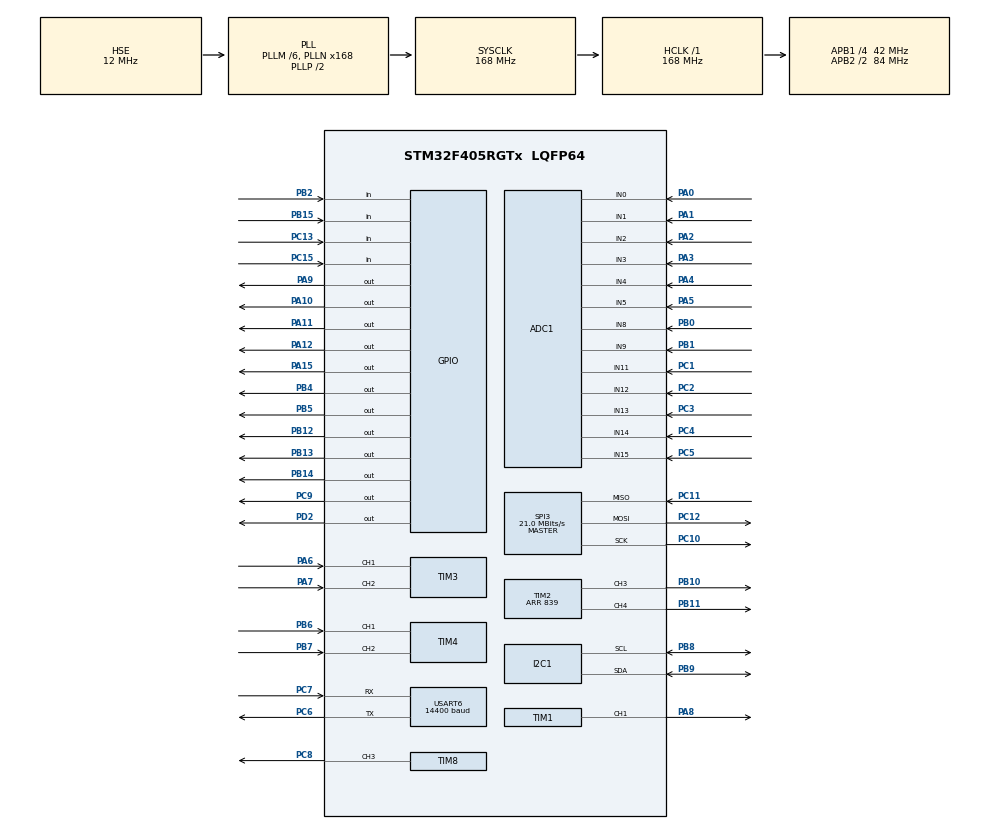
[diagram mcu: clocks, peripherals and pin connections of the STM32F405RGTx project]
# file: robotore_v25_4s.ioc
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ADC1.Channel-0\#ChannelRegularConversion=ADC_CHANNEL_9
ADC1.Channel-1\#ChannelRegularConversion=ADC_CHANNEL_8
ADC1.Channel-10\#ChannelRegularConversion=ADC_CHANNEL_13
ADC1.Channel-11\#ChannelRegularConversion=ADC_CHANNEL_12
ADC1.Channel-12\#ChannelRegularConversion=ADC_CHANNEL_11
ADC1.Channel-2\#ChannelRegularConversion=ADC_CHANNEL_15
ADC1.Channel-3\#ChannelRegularConversion=ADC_CHANNEL_14
ADC1.Channel-4\#ChannelRegularConversion=ADC_CHANNEL_5
ADC1.Channel-5\#ChannelRegularConversion=ADC_CHANNEL_4
ADC1.Channel-6\#ChannelRegularConversion=ADC_CHANNEL_3
ADC1.Channel-7\#ChannelRegularConversion=ADC_CHANNEL_2
ADC1.Channel-8\#ChannelRegularConversion=ADC_CHANNEL_1
ADC1.Channel-9\#ChannelRegularConversion=ADC_CHANNEL_0
ADC1.ContinuousConvMode=ENABLE
ADC1.DMAContinuousRequests=ENABLE
ADC1.InjNumberOfConversion=0
ADC1.NbrOfConversion=13
ADC1.NbrOfConversionFlag=1
ADC1.Rank-0\#ChannelRegularConversion=1
ADC1.Rank-1\#ChannelRegularConversion=2
ADC1.Rank-10\#ChannelRegularConversion=11
ADC1.Rank-11\#ChannelRegularConversion=12
ADC1.Rank-12\#ChannelRegularConversion=13
ADC1.Rank-2\#ChannelRegularConversion=3
ADC1.Rank-3\#ChannelRegularConversion=4
ADC1.Rank-4\#ChannelRegularConversion=5
ADC1.Rank-5\#ChannelRegularConversion=6
ADC1.Rank-6\#ChannelRegularConversion=7
ADC1.Rank-7\#ChannelRegularConversion=8
ADC1.Rank-8\#ChannelRegularConversion=9
ADC1.Rank-9\#ChannelRegularConversion=10
ADC1.SamplingTime-0\#ChannelRegularConversion=ADC_SAMPLETIME_480CYCLES
ADC1.SamplingTime-1\#ChannelRegularConversion=ADC_SAMPLETIME_480CYCLES
ADC1.SamplingTime-10\#ChannelRegularConversion=ADC_SAMPLETIME_480CYCLES
ADC1.SamplingTime-11\#ChannelRegularConversion=ADC_SAMPLETIME_480CYCLES
ADC1.SamplingTime-12\#ChannelRegularConversion=ADC_SAMPLETIME_480CYCLES
ADC1.SamplingTime-2\#ChannelRegularConversion=ADC_SAMPLETIME_480CYCLES
ADC1.SamplingTime-3\#ChannelRegularConversion=ADC_SAMPLETIME_480CYCLES
ADC1.SamplingTime-4\#ChannelRegularConversion=ADC_SAMPLETIME_480CYCLES
ADC1.SamplingTime-5\#ChannelRegularConversion=ADC_SAMPLETIME_480CYCLES
ADC1.SamplingTime-6\#ChannelRegularConversion=ADC_SAMPLETIME_480CYCLES
ADC1.SamplingTime-7\#ChannelRegularConversion=ADC_SAMPLETIME_480CYCLES
ADC1.SamplingTime-8\#ChannelRegularConversion=ADC_SAMPLETIME_480CYCLES
ADC1.SamplingTime-9\#ChannelRegularConversion=ADC_SAMPLETIME_480CYCLES
ADC1.ScanConvMode=ENABLE
ADC1.master=1
Dma.ADC1.0.Direction=DMA_PERIPH_TO_MEMORY
Dma.ADC1.0.FIFOMode=DMA_FIFOMODE_DISABLE
Dma.ADC1.0.Instance=DMA2_Stream0
Dma.ADC1.0.MemDataAlignment=DMA_MDATAALIGN_HALFWORD
Dma.ADC1.0.MemInc=DMA_MINC_ENABLE
Dma.ADC1.0.Mode=DMA_CIRCULAR
Dma.ADC1.0.PeriphDataAlignment=DMA_PDATAALIGN_HALFWORD
Dma.ADC1.0.PeriphInc=DMA_PINC_DISABLE
Dma.ADC1.0.Priority=DMA_PRIORITY_LOW
Dma.Request0=ADC1
Mcu.Family=STM32F4
Mcu.Name=STM32F405RGTx
Mcu.Package=LQFP64
NVIC.DMA2_Stream0_IRQn=true\:0\:0\:false\:false\:true\:false\:true
NVIC.PriorityGroup=NVIC_PRIORITYGROUP_4
NVIC.TIM6_DAC_IRQn=true\:0\:0\:true\:false\:true\:true\:true
NVIC.USART6_IRQn=true\:0\:0\:false\:false\:true\:true\:true
PA0-WKUP.Signal=ADCx_IN0
PA1.Signal=ADCx_IN1
PA10.Signal=GPIO_Output
PA11.Signal=GPIO_Output
PA12.Signal=GPIO_Output
PA13.Mode=Trace_Asynchronous_SW
PA13.Signal=SYS_JTMS-SWDIO
PA14.Mode=Trace_Asynchronous_SW
PA14.Signal=SYS_JTCK-SWCLK
PA15.Signal=GPIO_Output
PA2.Signal=ADCx_IN2
PA3.Signal=ADCx_IN3
PA4.Signal=ADCx_IN4
PA5.Signal=ADCx_IN5
PA6.Signal=S_TIM3_CH1
PA7.Signal=S_TIM3_CH2
PA8.Signal=S_TIM1_CH1
PA9.Signal=GPIO_Output
PB0.Signal=ADCx_IN8
PB1.Signal=ADCx_IN9
PB10.Signal=S_TIM2_CH3
PB11.Signal=S_TIM2_CH4
PB12.Signal=GPIO_Output
PB13.Signal=GPIO_Output
PB14.Signal=GPIO_Output
PB15.Signal=GPIO_Input
PB2.Signal=GPIO_Input
PB3.Mode=Trace_Asynchronous_SW
PB3.Signal=SYS_JTDO-SWO
PB4.Signal=GPIO_Output
PB5.Signal=GPIO_Output
PB6.Signal=S_TIM4_CH1
PB7.Signal=S_TIM4_CH2
PB8.Mode=I2C
PB8.Signal=I2C1_SCL
PB9.Mode=I2C
PB9.Signal=I2C1_SDA
PC1.Signal=ADCx_IN11
PC10.Mode=Full_Duplex_Master
PC10.Signal=SPI3_SCK
PC11.Mode=Full_Duplex_Master
PC11.Signal=SPI3_MISO
PC12.Mode=Full_Duplex_Master
PC12.Signal=SPI3_MOSI
PC13-ANTI_TAMP.GPIO_PuPd=GPIO_PULLUP
PC13-ANTI_TAMP.Signal=GPIO_Input
PC15-OSC32_OUT.GPIO_PuPd=GPIO_PULLUP
PC15-OSC32_OUT.Signal=GPIO_Input
PC2.Signal=ADCx_IN12
PC3.Signal=ADCx_IN13
PC4.Signal=ADCx_IN14
PC5.Signal=ADCx_IN15
PC6.Mode=Asynchronous
PC6.Signal=USART6_TX
PC7.Mode=Asynchronous
PC7.Signal=USART6_RX
PC8.Signal=S_TIM8_CH3
PC9.Signal=GPIO_Output
PD2.Signal=GPIO_Output
PH0-OSC_IN.Mode=HSE-External-Oscillator
PH0-OSC_IN.Signal=RCC_OSC_IN
PH1-OSC_OUT.Mode=HSE-External-Oscillator
PH1-OSC_OUT.Signal=RCC_OSC_OUT
ProjectManager.HeapSize=0x200
ProjectManager.StackSize=0x400
ProjectManager.TargetToolchain=STM32CubeIDE
RCC.48MHZClocksFreq_Value=84000000
RCC.AHBFreq_Value=168000000
RCC.APB1CLKDivider=RCC_HCLK_DIV4
RCC.APB1Freq_Value=42000000
RCC.APB1TimFreq_Value=84000000
RCC.APB2CLKDivider=RCC_HCLK_DIV2
RCC.APB2Freq_Value=84000000
RCC.APB2TimFreq_Value=168000000
RCC.CortexFreq_Value=168000000
RCC.HCLKFreq_Value=168000000
RCC.HSE_VALUE=12000000
RCC.HSI_VALUE=16000000
RCC.LSE_VALUE=32768
RCC.PLLM=6
RCC.PLLN=168
RCC.PLLSourceVirtual=RCC_PLLSOURCE_HSE
RCC.SYSCLKFreq_VALUE=168000000
RCC.SYSCLKSource=RCC_SYSCLKSOURCE_PLLCLK
RCC.VCOOutputFreq_Value=336000000
SH.ADCx_IN0.0=ADC1_IN0,IN0
SH.ADCx_IN1.0=ADC1_IN1,IN1
SH.ADCx_IN11.0=ADC1_IN11,IN11
SH.ADCx_IN12.0=ADC1_IN12,IN12
SH.ADCx_IN13.0=ADC1_IN13,IN13
SH.ADCx_IN14.0=ADC1_IN14,IN14
SH.ADCx_IN15.0=ADC1_IN15,IN15
SH.ADCx_IN2.0=ADC1_IN2,IN2
SH.ADCx_IN3.0=ADC1_IN3,IN3
SH.ADCx_IN4.0=ADC1_IN4,IN4
SH.ADCx_IN5.0=ADC1_IN5,IN5
SH.ADCx_IN8.0=ADC1_IN8,IN8
SH.ADCx_IN9.0=ADC1_IN9,IN9
SH.S_TIM1_CH1.0=TIM1_CH1,PWM Generation1 CH1
SH.S_TIM2_CH3.0=TIM2_CH3,PWM Generation3 CH3
SH.S_TIM2_CH4.0=TIM2_CH4,PWM Generation4 CH4
SH.S_TIM3_CH1.0=TIM3_CH1,Encoder_Interface
SH.S_TIM3_CH2.0=TIM3_CH2,Encoder_Interface
SH.S_TIM4_CH1.0=TIM4_CH1,Encoder_Interface
SH.S_TIM4_CH2.0=TIM4_CH2,Encoder_Interface
SH.S_TIM8_CH3.0=TIM8_CH3,PWM Generation3 CH3
SPI3.BaudRatePrescaler=SPI_BAUDRATEPRESCALER_2
SPI3.CLKPhase=SPI_PHASE_2EDGE
SPI3.CLKPolarity=SPI_POLARITY_HIGH
SPI3.CalculateBaudRate=21.0 MBits/s
SPI3.DataSize=SPI_DATASIZE_8BIT
SPI3.Direction=SPI_DIRECTION_2LINES
SPI3.Mode=SPI_MODE_MASTER
SPI3.VirtualType=VM_MASTER
TIM1.Channel-PWM\ Generation1\ CH1=TIM_CHANNEL_1
TIM1.Period=2000
TIM2.Channel-PWM\ Generation3\ CH3=TIM_CHANNEL_3
TIM2.Channel-PWM\ Generation4\ CH4=TIM_CHANNEL_4
TIM2.Period=839
TIM6.Period=999
TIM6.Prescaler=83
TIM8.Channel-PWM\ Generation3\ CH3=TIM_CHANNEL_3
TIM8.Period=2000
TIM8.Prescaler=0
USART6.BaudRate=14400
USART6.VirtualMode=VM_ASYNC
USART6.WordLength=WORDLENGTH_8B
VP_TIM6_VS_ClockSourceINT.Mode=Enable_Timer
board=custom

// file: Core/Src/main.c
/* USER CODE BEGIN Header */
/**
  ******************************************************************************
  * @file           : main.c
  * @brief          : Main program body
  ******************************************************************************
  * @attention
  *
  * <h2><center>&copy; Copyright (c) 2022 STMicroelectronics.
  * All rights reserved.</center></h2>
  *
  * This software component is licensed by ST under BSD 3-Clause license,
  * the "License"; You may not use this file except in compliance with the
  * License. You may obtain a copy of the License at:
  *                        opensource.org/licenses/BSD-3-Clause
  *
  ******************************************************************************
  */
/* USER CODE END Header */
#include "main.h"

/* USER CODE BEGIN Includes */
#include "initial.h"
#include"flash.h"
#include "main.h"
#include <AQM0802.h>
#include <infor.h>
#include "stdio.h"
#include <adjustment.h>
#include "stdbool.h"
#include "string.h"
#include"PID_con.h"
#include <IMU_cale.h>
#include <sensor_ADC.h>
#include <Driv_log.h>
#include <ICM_20648.h>
#include "math.h"
#include "Flash_F405.h"
/* USER CODE END Includes */

/* USER CODE BEGIN PTD */
float mon_speed;
uint16_t driv_flag=0;
int ghq=0;
uint16_t a=0,b=0;
float speedget ;
uint8_t goal=1;
float test=0;
uint8_t imu_test=0;
/* USER CODE END PTD */

ADC_HandleTypeDef hadc1;
DMA_HandleTypeDef hdma_adc1;

I2C_HandleTypeDef hi2c1;

SPI_HandleTypeDef hspi3;

TIM_HandleTypeDef htim1;
TIM_HandleTypeDef htim2;
TIM_HandleTypeDef htim3;
TIM_HandleTypeDef htim4;
TIM_HandleTypeDef htim6;
TIM_HandleTypeDef htim8;

UART_HandleTypeDef huart6;

void SystemClock_Config(void);
static void MX_GPIO_Init(void);
static void MX_DMA_Init(void);
static void MX_ADC1_Init(void);
static void MX_I2C1_Init(void);
static void MX_SPI3_Init(void);
static void MX_TIM1_Init(void);
static void MX_TIM3_Init(void);
static void MX_TIM4_Init(void);
static void MX_TIM8_Init(void);
static void MX_USART6_UART_Init(void);
static void MX_TIM6_Init(void);
static void MX_TIM2_Init(void);
/* USER CODE BEGIN PFP */
#ifdef __GNUC__
	#define PUTCHAR_PROTOTYPE int __io_putchar(int ch)
#else
	#define PUTCHAR_PROTOTYPE int fputc(int ch, FILE *f)
#endif /*__GNUC__*/
PUTCHAR_PROTOTYPE {
	HAL_UART_Transmit(&huart6, (uint8_t*)&ch, 1, 0xFFFF);
	return ch;
}
void HAL_ADC_ConvCpltCallback(ADC_HandleTypeDef* AdcHandle) {
}
/* USER CODE END PFP */

/* USER CODE BEGIN 0 */
//int _write(int file, char *ptr, int len)
//{
//  int DataIdx;
//  for(DataIdx=0; DataIdx<len; DataIdx++)
//  {
//    ITM_SendChar(*ptr++);
//  }
//  return len;
//}
void HAL_TIM_PeriodElapsedCallback(TIM_HandleTypeDef *htim){
	ghq++;
	Speed_Motor();
	sidemaker();
	  if(maker_flag==0 && second_soeed>=1 && (Average_speed<=6000)){
		  Average_speed=Average_speed+5;
		  //spp=Average_speed;
	  }
	//if(driv_flag==1&& maker_flag==1)first_cale();
//	if(straight_flag) HAL_GPIO_WritePin(GPIOC, GPIO_PIN_8, GPIO_PIN_SET);
//	else if(driv_flag ==1) HAL_GPIO_WritePin(GPIOC, GPIO_PIN_8, GPIO_PIN_RESET);

  if(maker_flag==0 && Average_speed<=work_ram[26])Average_speed+=5;
  else if(driv_flag ==1 && maker_flag==1) Average_speed=work_ram[26];

}
void mode(){
	uint8_t i=1;
	uint16_t jl=39;
	int a=0;
	float cal=0;
	float spp=0;
	while(1){
		i=mode_Selection(switch_cheack());

		switch(i){
//		case 1:
//			LED(1);//blue
//			lcd_clear();
//			lcd_locate(0,0);
//			lcd_printf("IMU");
//			//HAL_Delay(500);
//			IMU_init();
//			off_angle();
//			break;
		case 1://green
			LED(1);
			lcd_clear();
			lcd_locate(0,0);
			lcd_printf("ADCinit");
			ADCinit();
			break;
		case 2:
			LED(2);//light blue
			lcd_clear();
			lcd_locate(0,0);
			lcd_printf("nomusan");
			tuning();
			break;

		case 3:

			second_soeed=0;
			Flash_clear2();
			LED(8);
			LED2(1);
			while(switch_cheack2());
			LED2(2);
			HAL_Delay(300);
			off_angle();
			HAL_Delay(100);
			fan_pressure(400,400);
			HAL_Delay(1000);
			log_init ();
			lcd_clear();
			Kd = 30;
			TIM4 -> CNT = 32768;
			TIM3 -> CNT = 32768;

			HAL_TIM_Base_Start_IT(&htim6);
			LED(2);
			maker_flag=0;
			driv_flag=1;
			Average_speed=0;
			while (1){

			  if(maker_right && cross_line==0 && maker_left == 0 ){
				  while(maker_right);
				  maker_flag++;
				  if(maker_flag>=2){
					  break;
				  }
			  }
			  if(maker_left && cross_line==0 && maker_right == 0){
				  correc_maker = true;
				  while(maker_left);
				  correc_maker = false;
			  }
			  if((maker_right )&& cross_line==1 ){
				  while(maker_right);
				  cross_maker = true;
			  }

			}

			stop();
			fan_pressure(0,0);
			Flash_store();
			Kd = work_ram[29];
			break;
		case 4:
			accel_tuning();
			break;

		case 5:
			i=1;
			HAL_Delay(500);
			second_soeed=mode_Selection(switch_cheack2());
			LED2(3);
			FLASH_EreaseSector(11);
			FLASH_Erease8();
			log_init ();
			log_Cal();
			log_init ();
			HAL_Delay(10);
			off_angle();
			HAL_Delay(100);
			maker_flag=0;
			driv_flag=2;

//			if(second_soeed == 1){
//				__HAL_TIM_SET_COMPARE(&htim2, TIM_CHANNEL_1, 2000);
//				__HAL_TIM_SET_COMPARE(&htim2, TIM_CHANNEL_4, 2060);
//				fan_pressure(13.4,13.4);
//			}else {
				fan_pressure(550,550);
//				__HAL_TIM_SET_COMPARE(&htim2, TIM_CHANNEL_1, 2020);
//				__HAL_TIM_SET_COMPARE(&htim2, TIM_CHANNEL_4, 2080);
//			}
			HAL_Delay(500);
			Average_speed=0;
			spp=700;
			LED(2);
			TIM4 -> CNT = 32768;
			TIM3 -> CNT = 32768;
			HAL_TIM_Base_Start_IT(&htim6);
			while (1){

			  if(maker_right && cross_line==0 && maker_left == 0 ){
				  while(maker_right);
				  maker_flag++;
				  if(maker_flag>=2){
					  break;
				  }
			  }
			  if(maker_left && cross_line==0 && maker_right==0){
					  correc_maker = true;
					  while(maker_left);
					  correc_maker = false;

				  }
			  if((maker_right )&& cross_line==1 ){
				  while(maker_right);
				  cross_maker = true;
			  }

			 // if(Average_speed<work_ram[26])Average_speed=work_ram[26];
			}

			stop();
			fan_pressure(0,0);
			lcd_clear();
			lcd_printf("%lf",test);
			break;
		case 6:
			log_play();
			break;
		case 7:
			speed_tuning();
			break;
		}

	}

}
/* USER CODE END 0 */

int main(void)
{
  /* USER CODE BEGIN 1 */
//	int i=0;
//	int z=0;
//	int g=0;
	int cal=0;
  /* USER CODE END 1 */

  /* MCU Configuration--------------------------------------------------------*/

  /* Reset of all peripherals, Initializes the Flash interface and the Systick. */
  HAL_Init();

  /* Configure the system clock */
  SystemClock_Config();

  /* Initialize all configured peripherals */
  MX_GPIO_Init();
  MX_DMA_Init();
  MX_ADC1_Init();
  MX_I2C1_Init();
  MX_SPI3_Init();
  MX_TIM1_Init();
  MX_TIM3_Init();
  MX_TIM4_Init();
  MX_TIM8_Init();
  MX_USART6_UART_Init();
  MX_TIM6_Init();
  MX_TIM2_Init();
  /* USER CODE BEGIN 2 */
//  HAL_Delay(100);

  init();
//  work_ram[26]=2500;
//  Flash_store();
 // ADCinit();

//  brushi_init();
  IMU_init();
  IMU_init();
 // off_angle();
//  IMU_init();
  HAL_Delay(100);

 // off_angle();
 // HAL_Delay(5000);
//	__HAL_TIM_SET_COMPARE(&htim2, TIM_CHANNEL_3, 50)
//	__HAL_TIM_SET_COMPARE(&htim2, TIM_CHANNEL_4, 50);
//  fan_pressure(10,0);f
 // __HAL_TIM_SET_COMPARE(&htim1, TIM_CHANNEL_2, 400);
 // Kd = 10;
if(switch_cheack2()==0){
	LED(4);
	LED2(4);
	HAL_Delay(1000);
	fan_pressure(550,550);
	while(1);
}
//  HAL_TIM_Base_Start_IT(&htim6);
 // tuning();
//  second_soeed = 2;
//  log_Cal();
Motor(00,00);
mode();
//HAL_GPIO_WritePin(GPIOA, GPIO_PIN_8, GPIO_PIN_SET);
//HAL_GPIO_WritePin(GPIOC, GPIO_PIN_9, GPIO_PIN_SET);
 // __HAL_TIM_SET_COMPARE(&htim8, TIM_CHANNEL_3, 400);
// Motor(00,000);
// Motor(300,300);
//  mode_Selection(1);
LED(5);
//LED2(4);
//  __HAL_TIM_SET_COMPARE(&htim8, TIM_CHANNEL_3, 2000);
	//IMU_init();
	//off_angle();
  //printf("hello\r\n");
  //log_init ();
//  log_play();
  //HAL_TIM_Base_Start_IT(&htim6);
  /* USER CODE END 2 */

  /* Infinite loop */
  /* USER CODE BEGIN WHILE */
//	lcd_clear();
//  work_ram[26]=1800;
//  work_ram[27]=200;
//  work_ram[28]=0;
//  work_ram[29]=20;
//  work_ram[31]=22;
//  work_ram[32]=8;
//    work_ram[33] = 2000;
//    work_ram[34] = 3000;
//    work_ram[35] = 3500;
//    work_ram[36] = 4500;
//    work_ram[37] = 4500;
//    work_ram[38] = 6600;
//  Flash_store();
 // driv_fan(3800);
//  maker_flag=1;
//  driv_flag=2;
//  HAL_TIM_Base_Start_IT(&htim6);
  TIM3-> CNT = 0;
//  fan_pressure(15,15);
//mode_Selection(1);
//  TIM3 -> CNT = 32768;
  cal=39;
  while (1)
  {
	  read_gyro_data();
	  sidemaker();
	//  printf("%d,%d\r\n",cal-39,work_ram[cal]);
	  cal++;
//	  if(work_ram[cal]>=6000)break;
//	  a++;
//	  if(a>=8)a=0;
//	  LED(a);
//  cal++;
//	  if(cal>=50000)break;
//	  fan_pressure(5,5);
//	  HAL_Delay(3000);
//	  fan_pressure(0,13);
//	  HAL_Delay(3000);
//	ghq = *(uint32_t*)plan_velo_adress;
//	cal = *(float*)plan_velo_adress;
//	if(isnan(cal) != 0)break;
//	//ghq = *(uint32_t*)side_adress;
////	cal = *(float*)side_adress;
////	if(isnan(cal) != 0)break;
//	//c++;
	//printf("hello");
	printf("%d\r\n",zg);
//	plan_velo_adress+= 0x04;
//
//	HAL_Delay(1000);

//	 a= analog[0];
	  test =  (a-32768 );
//	  printf("%d,",analog[0]);
//	  printf("%d,",analog[1]);
//	  printf("%d,",analog[2]);
//	  printf("%d,",analog[3]);
//	  printf("%d,",analog[4]);
//	  printf("%d,",analog[5]);
//	  printf("%d,",analog[6]);
//	  printf("%d,",analog[7]);
//	  printf("%d,",analog[8]);
//	  printf("%d,",analog[9]);
//	  printf("%d,",analog[10]);
//	  printf("%d,",analog[11]);
//	  printf("%d,\r\n",analog[12]);
//	  printf("%d\r\n",a);
//	  read_gyro_data();
	  a=TIM4 -> CNT;
	  b=TIM3 -> CNT;
//	  Motor(100,100);
//	  HAL_Delay(1000);
	 // Motor(0,-1800);
//	  printf("%lf\r\n",calc_angle());
//	  if(maker_right && cross_line==0){
//		  while(maker_right);
//		  i++;
//		  if(i>=2)stop();
//	  }
//
//	  if(log_flag){
//		  lcd_clear();
//		  z++;
//		  if(cross_line) g++;
//		  if(g>=15) {
//			  cross_line=0;
//			  g=0;
//		  }
//		  log_flag= false;
	//  }
	  //printf("%lf\r\n",speedget());
	  HAL_Delay(100);
    /* USER CODE END WHILE */

    /* USER CODE BEGIN 3 */
  }

 // printf("%lf\r\n",test);
//  Motor(00,00);
  return 0;
  /* USER CODE END 3 */
}

void SystemClock_Config(void)
{
  RCC_OscInitTypeDef RCC_OscInitStruct = {0};
  RCC_ClkInitTypeDef RCC_ClkInitStruct = {0};

  /** Configure the main internal regulator output voltage
  */
  __HAL_RCC_PWR_CLK_ENABLE();
  __HAL_PWR_VOLTAGESCALING_CONFIG(PWR_REGULATOR_VOLTAGE_SCALE1);
  /** Initializes the RCC Oscillators according to the specified parameters
  * in the RCC_OscInitTypeDef structure.
  */
  RCC_OscInitStruct.OscillatorType = RCC_OSCILLATORTYPE_HSE;
  RCC_OscInitStruct.HSEState = RCC_HSE_ON;
  RCC_OscInitStruct.PLL.PLLState = RCC_PLL_ON;
  RCC_OscInitStruct.PLL.PLLSource = RCC_PLLSOURCE_HSE;
  RCC_OscInitStruct.PLL.PLLM = 6;
  RCC_OscInitStruct.PLL.PLLN = 168;
  RCC_OscInitStruct.PLL.PLLP = RCC_PLLP_DIV2;
  RCC_OscInitStruct.PLL.PLLQ = 4;
  if (HAL_RCC_OscConfig(&RCC_OscInitStruct) != HAL_OK)
  {
    Error_Handler();
  }
  /** Initializes the CPU, AHB and APB buses clocks
  */
  RCC_ClkInitStruct.ClockType = RCC_CLOCKTYPE_HCLK|RCC_CLOCKTYPE_SYSCLK
                              |RCC_CLOCKTYPE_PCLK1|RCC_CLOCKTYPE_PCLK2;
  RCC_ClkInitStruct.SYSCLKSource = RCC_SYSCLKSOURCE_PLLCLK;
  RCC_ClkInitStruct.AHBCLKDivider = RCC_SYSCLK_DIV1;
  RCC_ClkInitStruct.APB1CLKDivider = RCC_HCLK_DIV4;
  RCC_ClkInitStruct.APB2CLKDivider = RCC_HCLK_DIV2;

  if (HAL_RCC_ClockConfig(&RCC_ClkInitStruct, FLASH_LATENCY_5) != HAL_OK)
  {
    Error_Handler();
  }
}

static void MX_ADC1_Init(void)
{

  ADC_ChannelConfTypeDef sConfig = {0};

  /** Configure the global features of the ADC (Clock, Resolution, Data Alignment and number of conversion)
  */
  hadc1.Instance = ADC1;
  hadc1.Init.ClockPrescaler = ADC_CLOCK_SYNC_PCLK_DIV4;
  hadc1.Init.Resolution = ADC_RESOLUTION_12B;
  hadc1.Init.ScanConvMode = ENABLE;
  hadc1.Init.ContinuousConvMode = ENABLE;
  hadc1.Init.DiscontinuousConvMode = DISABLE;
  hadc1.Init.ExternalTrigConvEdge = ADC_EXTERNALTRIGCONVEDGE_NONE;
  hadc1.Init.ExternalTrigConv = ADC_SOFTWARE_START;
  hadc1.Init.DataAlign = ADC_DATAALIGN_RIGHT;
  hadc1.Init.NbrOfConversion = 13;
  hadc1.Init.DMAContinuousRequests = ENABLE;
  hadc1.Init.EOCSelection = ADC_EOC_SINGLE_CONV;
  if (HAL_ADC_Init(&hadc1) != HAL_OK)
  {
    Error_Handler();
  }
  /** Configure for the selected ADC regular channel its corresponding rank in the sequencer and its sample time.
  */
  sConfig.Channel = ADC_CHANNEL_9;
  sConfig.Rank = 1;
  sConfig.SamplingTime = ADC_SAMPLETIME_480CYCLES;
  if (HAL_ADC_ConfigChannel(&hadc1, &sConfig) != HAL_OK)
  {
    Error_Handler();
  }
  /** Configure for the selected ADC regular channel its corresponding rank in the sequencer and its sample time.
  */
  sConfig.Channel = ADC_CHANNEL_8;
  sConfig.Rank = 2;
  if (HAL_ADC_ConfigChannel(&hadc1, &sConfig) != HAL_OK)
  {
    Error_Handler();
  }
  /** Configure for the selected ADC regular channel its corresponding rank in the sequencer and its sample time.
  */
  sConfig.Channel = ADC_CHANNEL_15;
  sConfig.Rank = 3;
  if (HAL_ADC_ConfigChannel(&hadc1, &sConfig) != HAL_OK)
  {
    Error_Handler();
  }
  /** Configure for the selected ADC regular channel its corresponding rank in the sequencer and its sample time.
  */
  sConfig.Channel = ADC_CHANNEL_14;
  sConfig.Rank = 4;
  if (HAL_ADC_ConfigChannel(&hadc1, &sConfig) != HAL_OK)
  {
    Error_Handler();
  }
  /** Configure for the selected ADC regular channel its corresponding rank in the sequencer and its sample time.
  */
  sConfig.Channel = ADC_CHANNEL_5;
  sConfig.Rank = 5;
  if (HAL_ADC_ConfigChannel(&hadc1, &sConfig) != HAL_OK)
  {
    Error_Handler();
  }
  /** Configure for the selected ADC regular channel its corresponding rank in the sequencer and its sample time.
  */
  sConfig.Channel = ADC_CHANNEL_4;
  sConfig.Rank = 6;
  if (HAL_ADC_ConfigChannel(&hadc1, &sConfig) != HAL_OK)
  {
    Error_Handler();
  }
  /** Configure for the selected ADC regular channel its corresponding rank in the sequencer and its sample time.
  */
  sConfig.Channel = ADC_CHANNEL_3;
  sConfig.Rank = 7;
  if (HAL_ADC_ConfigChannel(&hadc1, &sConfig) != HAL_OK)
  {
    Error_Handler();
  }
  /** Configure for the selected ADC regular channel its corresponding rank in the sequencer and its sample time.
  */
  sConfig.Channel = ADC_CHANNEL_2;
  sConfig.Rank = 8;
  if (HAL_ADC_ConfigChannel(&hadc1, &sConfig) != HAL_OK)
  {
    Error_Handler();
  }
  /** Configure for the selected ADC regular channel its corresponding rank in the sequencer and its sample time.
  */
  sConfig.Channel = ADC_CHANNEL_1;
  sConfig.Rank = 9;
  if (HAL_ADC_ConfigChannel(&hadc1, &sConfig) != HAL_OK)
  {
    Error_Handler();
  }
  /** Configure for the selected ADC regular channel its corresponding rank in the sequencer and its sample time.
  */
  sConfig.Channel = ADC_CHANNEL_0;
  sConfig.Rank = 10;
  if (HAL_ADC_ConfigChannel(&hadc1, &sConfig) != HAL_OK)
  {
    Error_Handler();
  }
  /** Configure for the selected ADC regular channel its corresponding rank in the sequencer and its sample time.
  */
  sConfig.Channel = ADC_CHANNEL_13;
  sConfig.Rank = 11;
  if (HAL_ADC_ConfigChannel(&hadc1, &sConfig) != HAL_OK)
  {
    Error_Handler();
  }
  /** Configure for the selected ADC regular channel its corresponding rank in the sequencer and its sample time.
  */
  sConfig.Channel = ADC_CHANNEL_12;
  sConfig.Rank = 12;
  if (HAL_ADC_ConfigChannel(&hadc1, &sConfig) != HAL_OK)
  {
    Error_Handler();
  }
  /** Configure for the selected ADC regular channel its corresponding rank in the sequencer and its sample time.
  */
  sConfig.Channel = ADC_CHANNEL_11;
  sConfig.Rank = 13;
  if (HAL_ADC_ConfigChannel(&hadc1, &sConfig) != HAL_OK)
  {
    Error_Handler();
  }

}

static void MX_I2C1_Init(void)
{

  hi2c1.Instance = I2C1;
  hi2c1.Init.ClockSpeed = 100000;
  hi2c1.Init.DutyCycle = I2C_DUTYCYCLE_2;
  hi2c1.Init.OwnAddress1 = 0;
  hi2c1.Init.AddressingMode = I2C_ADDRESSINGMODE_7BIT;
  hi2c1.Init.DualAddressMode = I2C_DUALADDRESS_DISABLE;
  hi2c1.Init.OwnAddress2 = 0;
  hi2c1.Init.GeneralCallMode = I2C_GENERALCALL_DISABLE;
  hi2c1.Init.NoStretchMode = I2C_NOSTRETCH_DISABLE;
  if (HAL_I2C_Init(&hi2c1) != HAL_OK)
  {
    Error_Handler();
  }

}

static void MX_SPI3_Init(void)
{

  /* SPI3 parameter configuration*/
  hspi3.Instance = SPI3;
  hspi3.Init.Mode = SPI_MODE_MASTER;
  hspi3.Init.Direction = SPI_DIRECTION_2LINES;
  hspi3.Init.DataSize = SPI_DATASIZE_8BIT;
  hspi3.Init.CLKPolarity = SPI_POLARITY_HIGH;
  hspi3.Init.CLKPhase = SPI_PHASE_2EDGE;
  hspi3.Init.NSS = SPI_NSS_SOFT;
  hspi3.Init.BaudRatePrescaler = SPI_BAUDRATEPRESCALER_2;
  hspi3.Init.FirstBit = SPI_FIRSTBIT_MSB;
  hspi3.Init.TIMode = SPI_TIMODE_DISABLE;
  hspi3.Init.CRCCalculation = SPI_CRCCALCULATION_DISABLE;
  hspi3.Init.CRCPolynomial = 10;
  if (HAL_SPI_Init(&hspi3) != HAL_OK)
  {
    Error_Handler();
  }

}

static void MX_TIM1_Init(void)
{

  TIM_MasterConfigTypeDef sMasterConfig = {0};
  TIM_OC_InitTypeDef sConfigOC = {0};
  TIM_BreakDeadTimeConfigTypeDef sBreakDeadTimeConfig = {0};

  htim1.Instance = TIM1;
  htim1.Init.Prescaler = 0;
  htim1.Init.CounterMode = TIM_COUNTERMODE_UP;
  htim1.Init.Period = 2000;
  htim1.Init.ClockDivision = TIM_CLOCKDIVISION_DIV1;
  htim1.Init.RepetitionCounter = 0;
  htim1.Init.AutoReloadPreload = TIM_AUTORELOAD_PRELOAD_DISABLE;
  if (HAL_TIM_PWM_Init(&htim1) != HAL_OK)
  {
    Error_Handler();
  }
  sMasterConfig.MasterOutputTrigger = TIM_TRGO_RESET;
  sMasterConfig.MasterSlaveMode = TIM_MASTERSLAVEMODE_DISABLE;
  if (HAL_TIMEx_MasterConfigSynchronization(&htim1, &sMasterConfig) != HAL_OK)
  {
    Error_Handler();
  }
  sConfigOC.OCMode = TIM_OCMODE_PWM1;
  sConfigOC.Pulse = 0;
  sConfigOC.OCPolarity = TIM_OCPOLARITY_HIGH;
  sConfigOC.OCNPolarity = TIM_OCNPOLARITY_HIGH;
  sConfigOC.OCFastMode = TIM_OCFAST_DISABLE;
  sConfigOC.OCIdleState = TIM_OCIDLESTATE_RESET;
  sConfigOC.OCNIdleState = TIM_OCNIDLESTATE_RESET;
  if (HAL_TIM_PWM_ConfigChannel(&htim1, &sConfigOC, TIM_CHANNEL_1) != HAL_OK)
  {
    Error_Handler();
  }
  sBreakDeadTimeConfig.OffStateRunMode = TIM_OSSR_DISABLE;
  sBreakDeadTimeConfig.OffStateIDLEMode = TIM_OSSI_DISABLE;
  sBreakDeadTimeConfig.LockLevel = TIM_LOCKLEVEL_OFF;
  sBreakDeadTimeConfig.DeadTime = 0;
  sBreakDeadTimeConfig.BreakState = TIM_BREAK_DISABLE;
  sBreakDeadTimeConfig.BreakPolarity = TIM_BREAKPOLARITY_HIGH;
  sBreakDeadTimeConfig.AutomaticOutput = TIM_AUTOMATICOUTPUT_DISABLE;
  if (HAL_TIMEx_ConfigBreakDeadTime(&htim1, &sBreakDeadTimeConfig) != HAL_OK)
  {
    Error_Handler();
  }
  HAL_TIM_MspPostInit(&htim1);

}

static void MX_TIM2_Init(void)
{

  TIM_MasterConfigTypeDef sMasterConfig = {0};
  TIM_OC_InitTypeDef sConfigOC = {0};

  htim2.Instance = TIM2;
  htim2.Init.Prescaler = 0;
  htim2.Init.CounterMode = TIM_COUNTERMODE_UP;
  htim2.Init.Period = 839;
  htim2.Init.ClockDivision = TIM_CLOCKDIVISION_DIV1;
  htim2.Init.AutoReloadPreload = TIM_AUTORELOAD_PRELOAD_DISABLE;
  if (HAL_TIM_PWM_Init(&htim2) != HAL_OK)
  {
    Error_Handler();
  }
  sMasterConfig.MasterOutputTrigger = TIM_TRGO_RESET;
  sMasterConfig.MasterSlaveMode = TIM_MASTERSLAVEMODE_DISABLE;
  if (HAL_TIMEx_MasterConfigSynchronization(&htim2, &sMasterConfig) != HAL_OK)
  {
    Error_Handler();
  }
  sConfigOC.OCMode = TIM_OCMODE_PWM1;
  sConfigOC.Pulse = 0;
  sConfigOC.OCPolarity = TIM_OCPOLARITY_HIGH;
  sConfigOC.OCFastMode = TIM_OCFAST_DISABLE;
  if (HAL_TIM_PWM_ConfigChannel(&htim2, &sConfigOC, TIM_CHANNEL_3) != HAL_OK)
  {
    Error_Handler();
  }
  if (HAL_TIM_PWM_ConfigChannel(&htim2, &sConfigOC, TIM_CHANNEL_4) != HAL_OK)
  {
    Error_Handler();
  }
  HAL_TIM_MspPostInit(&htim2);

}

static void MX_TIM3_Init(void)
{

  TIM_Encoder_InitTypeDef sConfig = {0};
  TIM_MasterConfigTypeDef sMasterConfig = {0};

  htim3.Instance = TIM3;
  htim3.Init.Prescaler = 0;
  htim3.Init.CounterMode = TIM_COUNTERMODE_UP;
  htim3.Init.Period = 65535;
  htim3.Init.ClockDivision = TIM_CLOCKDIVISION_DIV1;
  htim3.Init.AutoReloadPreload = TIM_AUTORELOAD_PRELOAD_DISABLE;
  sConfig.EncoderMode = TIM_ENCODERMODE_TI1;
  sConfig.IC1Polarity = TIM_ICPOLARITY_RISING;
  sConfig.IC1Selection = TIM_ICSELECTION_DIRECTTI;
  sConfig.IC1Prescaler = TIM_ICPSC_DIV1;
  sConfig.IC1Filter = 0;
  sConfig.IC2Polarity = TIM_ICPOLARITY_RISING;
  sConfig.IC2Selection = TIM_ICSELECTION_DIRECTTI;
  sConfig.IC2Prescaler = TIM_ICPSC_DIV1;
  sConfig.IC2Filter = 0;
  if (HAL_TIM_Encoder_Init(&htim3, &sConfig) != HAL_OK)
  {
    Error_Handler();
  }
  sMasterConfig.MasterOutputTrigger = TIM_TRGO_RESET;
  sMasterConfig.MasterSlaveMode = TIM_MASTERSLAVEMODE_DISABLE;
  if (HAL_TIMEx_MasterConfigSynchronization(&htim3, &sMasterConfig) != HAL_OK)
  {
    Error_Handler();
  }

}

static void MX_TIM4_Init(void)
{

  TIM_Encoder_InitTypeDef sConfig = {0};
  TIM_MasterConfigTypeDef sMasterConfig = {0};

  htim4.Instance = TIM4;
  htim4.Init.Prescaler = 0;
  htim4.Init.CounterMode = TIM_COUNTERMODE_UP;
  htim4.Init.Period = 65535;
  htim4.Init.ClockDivision = TIM_CLOCKDIVISION_DIV1;
  htim4.Init.AutoReloadPreload = TIM_AUTORELOAD_PRELOAD_DISABLE;
  sConfig.EncoderMode = TIM_ENCODERMODE_TI1;
  sConfig.IC1Polarity = TIM_ICPOLARITY_RISING;
  sConfig.IC1Selection = TIM_ICSELECTION_DIRECTTI;
  sConfig.IC1Prescaler = TIM_ICPSC_DIV1;
  sConfig.IC1Filter = 0;
  sConfig.IC2Polarity = TIM_ICPOLARITY_RISING;
  sConfig.IC2Selection = TIM_ICSELECTION_DIRECTTI;
  sConfig.IC2Prescaler = TIM_ICPSC_DIV1;
  sConfig.IC2Filter = 0;
  if (HAL_TIM_Encoder_Init(&htim4, &sConfig) != HAL_OK)
  {
    Error_Handler();
  }
  sMasterConfig.MasterOutputTrigger = TIM_TRGO_RESET;
  sMasterConfig.MasterSlaveMode = TIM_MASTERSLAVEMODE_DISABLE;
  if (HAL_TIMEx_MasterConfigSynchronization(&htim4, &sMasterConfig) != HAL_OK)
  {
    Error_Handler();
  }

}

static void MX_TIM6_Init(void)
{

  TIM_MasterConfigTypeDef sMasterConfig = {0};

  htim6.Instance = TIM6;
  htim6.Init.Prescaler = 83;
  htim6.Init.CounterMode = TIM_COUNTERMODE_UP;
  htim6.Init.Period = 999;
  htim6.Init.AutoReloadPreload = TIM_AUTORELOAD_PRELOAD_DISABLE;
  if (HAL_TIM_Base_Init(&htim6) != HAL_OK)
  {
    Error_Handler();
  }
  sMasterConfig.MasterOutputTrigger = TIM_TRGO_RESET;
  sMasterConfig.MasterSlaveMode = TIM_MASTERSLAVEMODE_DISABLE;
  if (HAL_TIMEx_MasterConfigSynchronization(&htim6, &sMasterConfig) != HAL_OK)
  {
    Error_Handler();
  }

}

static void MX_TIM8_Init(void)
{

  TIM_MasterConfigTypeDef sMasterConfig = {0};
  TIM_OC_InitTypeDef sConfigOC = {0};
  TIM_BreakDeadTimeConfigTypeDef sBreakDeadTimeConfig = {0};

  htim8.Instance = TIM8;
  htim8.Init.Prescaler = 0;
  htim8.Init.CounterMode = TIM_COUNTERMODE_UP;
  htim8.Init.Period = 2000;
  htim8.Init.ClockDivision = TIM_CLOCKDIVISION_DIV1;
  htim8.Init.RepetitionCounter = 0;
  htim8.Init.AutoReloadPreload = TIM_AUTORELOAD_PRELOAD_DISABLE;
  if (HAL_TIM_PWM_Init(&htim8) != HAL_OK)
  {
    Error_Handler();
  }
  sMasterConfig.MasterOutputTrigger = TIM_TRGO_RESET;
  sMasterConfig.MasterSlaveMode = TIM_MASTERSLAVEMODE_DISABLE;
  if (HAL_TIMEx_MasterConfigSynchronization(&htim8, &sMasterConfig) != HAL_OK)
  {
    Error_Handler();
  }
  sConfigOC.OCMode = TIM_OCMODE_PWM1;
  sConfigOC.Pulse = 0;
  sConfigOC.OCPolarity = TIM_OCPOLARITY_HIGH;
  sConfigOC.OCNPolarity = TIM_OCNPOLARITY_HIGH;
  sConfigOC.OCFastMode = TIM_OCFAST_DISABLE;
  sConfigOC.OCIdleState = TIM_OCIDLESTATE_RESET;
  sConfigOC.OCNIdleState = TIM_OCNIDLESTATE_RESET;
  if (HAL_TIM_PWM_ConfigChannel(&htim8, &sConfigOC, TIM_CHANNEL_3) != HAL_OK)
  {
    Error_Handler();
  }
  sBreakDeadTimeConfig.OffStateRunMode = TIM_OSSR_DISABLE;
  sBreakDeadTimeConfig.OffStateIDLEMode = TIM_OSSI_DISABLE;
  sBreakDeadTimeConfig.LockLevel = TIM_LOCKLEVEL_OFF;
  sBreakDeadTimeConfig.DeadTime = 0;
  sBreakDeadTimeConfig.BreakState = TIM_BREAK_DISABLE;
  sBreakDeadTimeConfig.BreakPolarity = TIM_BREAKPOLARITY_HIGH;
  sBreakDeadTimeConfig.AutomaticOutput = TIM_AUTOMATICOUTPUT_DISABLE;
  if (HAL_TIMEx_ConfigBreakDeadTime(&htim8, &sBreakDeadTimeConfig) != HAL_OK)
  {
    Error_Handler();
  }
  HAL_TIM_MspPostInit(&htim8);

}

static void MX_USART6_UART_Init(void)
{

  huart6.Instance = USART6;
  huart6.Init.BaudRate = 14400;
  huart6.Init.WordLength = UART_WORDLENGTH_8B;
  huart6.Init.StopBits = UART_STOPBITS_1;
  huart6.Init.Parity = UART_PARITY_NONE;
  huart6.Init.Mode = UART_MODE_TX_RX;
  huart6.Init.HwFlowCtl = UART_HWCONTROL_NONE;
  huart6.Init.OverSampling = UART_OVERSAMPLING_16;
  if (HAL_UART_Init(&huart6) != HAL_OK)
  {
    Error_Handler();
  }

}

static void MX_DMA_Init(void)
{

  /* DMA controller clock enable */
  __HAL_RCC_DMA2_CLK_ENABLE();

  /* DMA interrupt init */
  /* DMA2_Stream0_IRQn interrupt configuration */
  HAL_NVIC_SetPriority(DMA2_Stream0_IRQn, 0, 0);
  HAL_NVIC_EnableIRQ(DMA2_Stream0_IRQn);

}

static void MX_GPIO_Init(void)
{
  GPIO_InitTypeDef GPIO_InitStruct = {0};

  /* GPIO Ports Clock Enable */
  __HAL_RCC_GPIOC_CLK_ENABLE();
  __HAL_RCC_GPIOH_CLK_ENABLE();
  __HAL_RCC_GPIOA_CLK_ENABLE();
  __HAL_RCC_GPIOB_CLK_ENABLE();
  __HAL_RCC_GPIOD_CLK_ENABLE();

  /*Configure GPIO pin Output Level */
  HAL_GPIO_WritePin(GPIOB, GPIO_PIN_12|GPIO_PIN_13|GPIO_PIN_14|GPIO_PIN_4
                          |GPIO_PIN_5, GPIO_PIN_RESET);

  /*Configure GPIO pin Output Level */
  HAL_GPIO_WritePin(GPIOC, GPIO_PIN_9, GPIO_PIN_RESET);

  /*Configure GPIO pin Output Level */
  HAL_GPIO_WritePin(GPIOA, GPIO_PIN_9|GPIO_PIN_10|GPIO_PIN_11|GPIO_PIN_12
                          |GPIO_PIN_15, GPIO_PIN_RESET);

  /*Configure GPIO pin Output Level */
  HAL_GPIO_WritePin(GPIOD, GPIO_PIN_2, GPIO_PIN_RESET);

  /*Configure GPIO pins : PC13 PC15 */
  GPIO_InitStruct.Pin = GPIO_PIN_13|GPIO_PIN_15;
  GPIO_InitStruct.Mode = GPIO_MODE_INPUT;
  GPIO_InitStruct.Pull = GPIO_PULLUP;
  HAL_GPIO_Init(GPIOC, &GPIO_InitStruct);

  /*Configure GPIO pins : PB2 PB15 */
  GPIO_InitStruct.Pin = GPIO_PIN_2|GPIO_PIN_15;
  GPIO_InitStruct.Mode = GPIO_MODE_INPUT;
  GPIO_InitStruct.Pull = GPIO_NOPULL;
  HAL_GPIO_Init(GPIOB, &GPIO_InitStruct);

  /*Configure GPIO pins : PB12 PB13 PB14 PB4
                           PB5 */
  GPIO_InitStruct.Pin = GPIO_PIN_12|GPIO_PIN_13|GPIO_PIN_14|GPIO_PIN_4
                          |GPIO_PIN_5;
  GPIO_InitStruct.Mode = GPIO_MODE_OUTPUT_PP;
  GPIO_InitStruct.Pull = GPIO_NOPULL;
  GPIO_InitStruct.Speed = GPIO_SPEED_FREQ_LOW;
  HAL_GPIO_Init(GPIOB, &GPIO_InitStruct);

  /*Configure GPIO pin : PC9 */
  GPIO_InitStruct.Pin = GPIO_PIN_9;
  GPIO_InitStruct.Mode = GPIO_MODE_OUTPUT_PP;
  GPIO_InitStruct.Pull = GPIO_NOPULL;
  GPIO_InitStruct.Speed = GPIO_SPEED_FREQ_LOW;
  HAL_GPIO_Init(GPIOC, &GPIO_InitStruct);

  /*Configure GPIO pins : PA9 PA10 PA11 PA12
                           PA15 */
  GPIO_InitStruct.Pin = GPIO_PIN_9|GPIO_PIN_10|GPIO_PIN_11|GPIO_PIN_12
                          |GPIO_PIN_15;
  GPIO_InitStruct.Mode = GPIO_MODE_OUTPUT_PP;
  GPIO_InitStruct.Pull = GPIO_NOPULL;
  GPIO_InitStruct.Speed = GPIO_SPEED_FREQ_LOW;
  HAL_GPIO_Init(GPIOA, &GPIO_InitStruct);

  /*Configure GPIO pin : PD2 */
  GPIO_InitStruct.Pin = GPIO_PIN_2;
  GPIO_InitStruct.Mode = GPIO_MODE_OUTPUT_PP;
  GPIO_InitStruct.Pull = GPIO_NOPULL;
  GPIO_InitStruct.Speed = GPIO_SPEED_FREQ_LOW;
  HAL_GPIO_Init(GPIOD, &GPIO_InitStruct);

}

void Error_Handler(void)
{
  __disable_irq();
  while (1)
  {
  }
}

/************************ (C) COPYRIGHT STMicroelectronics *****END OF FILE****/
